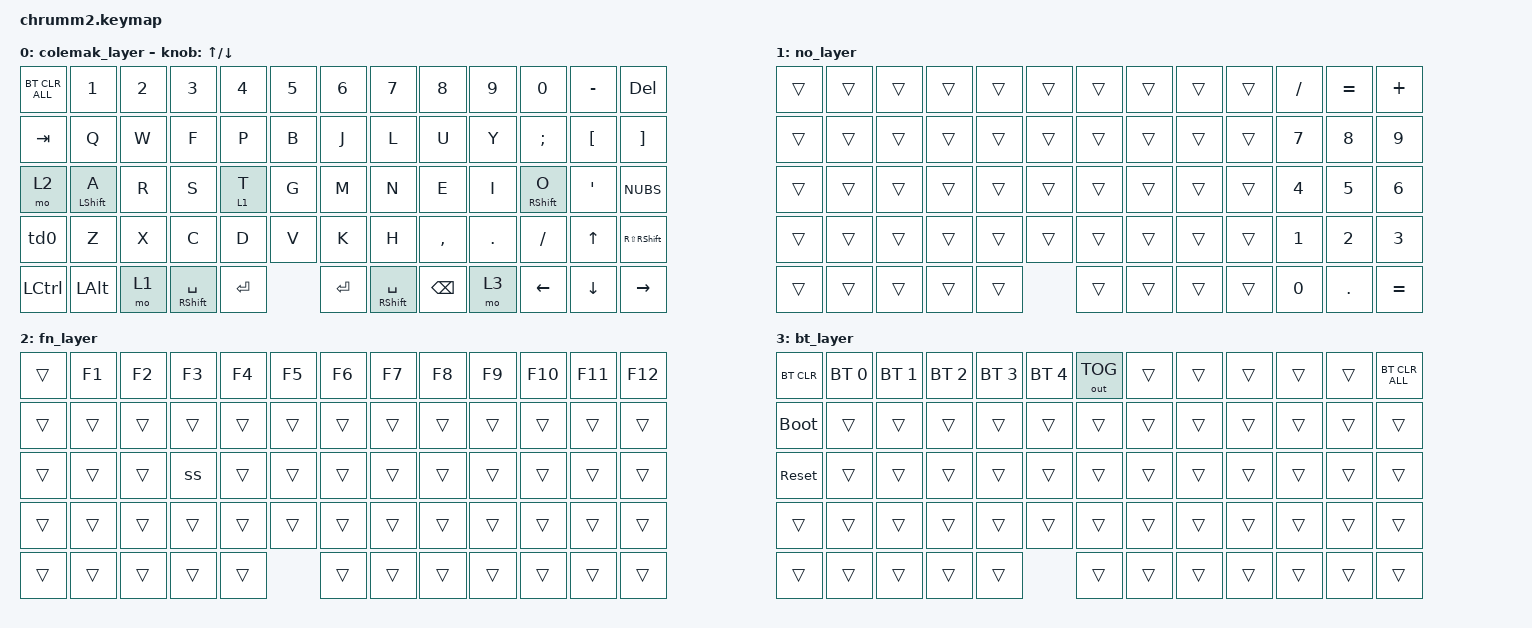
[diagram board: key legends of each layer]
/*
 * Copyright (c) 2021 The ZMK Contributors
 *
 * SPDX-License-Identifier: MIT
 */

#include <behaviors.dtsi>
#include <dt-bindings/zmk/bt.h>
#include <dt-bindings/zmk/keys.h>
#include <dt-bindings/zmk/outputs.h>

/ {
    behaviors {
        td0: tap_dance_0 {
            compatible = "zmk,behavior-tap-dance";
            #binding-cells = <0>;
            tapping-term-ms = <200>;
            bindings = <&kp LSHIFT>, <&kp CAPS>;
        };

        hold1: hold1 {
            compatible = "zmk,behavior-hold-tap";
            label = "HOLD1";
            bindings = <&kp>, <&kp>;

            #binding-cells = <2>;
            tapping-term-ms = <250>;
            flavor = "tap-preferred";
        };

        ss: ss {
            compatible = "zmk,behavior-tap-dance";
            #binding-cells = <0>;
            tapping-term-ms = <200>;
            label = "td_ss_dot";
            bindings = <&s_dot>, <&ss_dot>;
        };

        rot_kp: sensor_rotate_kp {
            compatible = "zmk,behavior-sensor-rotate-var";
            #sensor-binding-cells = <2>;
            bindings = <&kp>, <&kp>;
        };

        hold_2: hold_2 {
            compatible = "zmk,behavior-hold-tap";
            label = "HOLD_2";
            #binding-cells = <2>;
            bindings = <&mo>, <&kp>;

            tapping-term-ms = <250>;
            flavor = "tap-preferred";
        };
    };

    macros {
        s_dot: ss {
            compatible = "zmk,behavior-macro";
            #binding-cells = <0>;
            bindings = <&none &kp S &kp DOT &kp SPACE>;
            label = "SS";
        };

        ss_dot: s_dot {
            compatible = "zmk,behavior-macro";
            #binding-cells = <0>;
            bindings = <&none &kp S &kp S &kp DOT &kp SPACE>;
            label = "S_DOT";
        };
    };

    keymap {
        compatible = "zmk,keymap";

        colemak_layer {
            // --------------------------------------------------------------------------------------------------
            // |  ESC  |  1   |  2   |  3   |  4   |  5   |   6   |  7    |  8   |  9   |   0   | MINUS |  DEL |
            // |  TAB  |  Q   |  W   |  F   |  P   |  B   |   J   |  L    |  U   |  Y   |   ;   | LBKT  |  RBKT |
            // |  MO 2 |  A   |  R   |  S   |  T   |  G   |   M   |  N    |  E   |  I   |   O   |  '    |  NUBS |
            // |  TD 0 |  Z   |  X   |  C   |  D   |  V   |   K   |  H    |  ,   |  .   |   /   |  UP   |  RSFT |
            // |  LCTR | LALT | MO 1 | SPACE| ENTER|      | ENTER | SPACE | BSPC | MO 3 | LEFT  | DOWN  |  RIGHT|

            bindings = <
&bt BT_CLR_ALL  &kp N1          &kp N2  &kp N3                    &kp N4       &kp N5  &kp N6     &kp N7              &kp N8     &kp N9   &kp N0          &kp MINUS  &kp DEL
&kp TAB         &kp Q           &kp W   &kp F                     &kp P        &kp B   &kp J      &kp L               &kp U      &kp Y    &kp SEMI        &kp LBKT   &kp RBKT
&mo 2           &hold1 LSHFT A  &kp R   &kp S                     &hold_2 1 T  &kp G   &kp M      &kp N               &kp E      &kp I    &hold1 RSHFT O  &kp APOS   &kp NUBS
&td0            &kp Z           &kp X   &kp C                     &kp D        &kp V   &kp K      &kp H               &kp COMMA  &kp DOT  &kp FSLH        &kp UP     &kp RS(RIGHT_SHIFT)
&kp LCTRL       &kp LALT        &mo 1   &hold1 RIGHT_SHIFT SPACE  &kp ENTER            &kp ENTER  &hold1 RSHFT SPACE  &kp BSPC   &mo 3    &kp LEFT        &kp DOWN   &kp RIGHT
            >;

            sensor-bindings = <&inc_dec_kp UP DOWN>;
        };

        no_layer {
            // -------------------------------------------------------------------------------------------------
            // |       |      |      |      |      |      |       |       |      |      |   /   |   =   |  +  |
            // |       |      |      |      |      |      |       |       |      |      |   7   |   8   |  9  |
            // |       |      |      |      |      |      |       |       |      |      |   4   |   5   |  6  |
            // |       |      |      |      |      |      |       |       |      |      |   1   |   2   |  3  |
            // |       |      |      |      |      |      |       |       |      |      |   0   |   .   |  =  |

            bindings = <
&trans  &trans  &trans  &trans  &trans  &trans  &trans  &trans  &trans  &trans  &kp FSLH  &kp EQUAL   &kp PLUS
&trans  &trans  &trans  &trans  &trans  &trans  &trans  &trans  &trans  &trans  &kp N7    &kp N8      &kp N9
&trans  &trans  &trans  &trans  &trans  &trans  &trans  &trans  &trans  &trans  &kp N4    &kp N5      &kp N6
&trans  &trans  &trans  &trans  &trans  &trans  &trans  &trans  &trans  &trans  &kp N1    &kp N2      &kp N3
&trans  &trans  &trans  &trans  &trans          &trans  &trans  &trans  &trans  &kp N0    &kp PERIOD  &kp EQUAL
            >;
        };

        fn_layer {
            // ---------------------------------------------------------------------------------------------
            // |       |  F1  |  F2  |  F3  |  F4  |  F5  |  F6   |  F7   |  F8  |  F9  |  F10  |  F11  |  F12  |
            // |       |      |      |      |      |      |       |       |      |      |       |       |       |
            // |       |      |      |      |      |      |       |       |      |      |       |       |       |
            // |       |      |      |      |      |      |       |       |      |      |       |       |       |
            // |       |      |      |      |      |      |       |       |      |      |       |       |       |

            bindings = <
&trans  &kp F1  &kp F2  &kp F3  &kp F4  &kp F5  &kp F6  &kp F7  &kp F8  &kp F9  &kp F10  &kp F11  &kp F12
&trans  &trans  &trans  &trans  &trans  &trans  &trans  &trans  &trans  &trans  &trans   &trans   &trans
&trans  &trans  &trans  &ss     &trans  &trans  &trans  &trans  &trans  &trans  &trans   &trans   &trans
&trans  &trans  &trans  &trans  &trans  &trans  &trans  &trans  &trans  &trans  &trans   &trans   &trans
&trans  &trans  &trans  &trans  &trans          &trans  &trans  &trans  &trans  &trans   &trans   &trans
            >;
        };

        bt_layer {
            // --------------------------------------------------------------------------------------------------
            // |       |      |      |      |      |      |       |       |      |      |       |       |       |
            // |       |      |      |      |      |      |       |       |      |      |       |       |       |
            // |       |      |      |      |      |      |       |       |      |      |       |       |       |
            // |       |      |      |      |      |      |       |       |      |      |       |       |       |
            // |       |      |      |      |      |      |       |       |      |      |       |       |       |

            bindings = <
&bt BT_CLR   &bt BT_SEL 0  &bt BT_SEL 1  &bt BT_SEL 2  &bt BT_SEL 3  &bt BT_SEL 4  &out OUT_TOG  &trans  &trans  &trans  &trans  &trans  &bt BT_CLR_ALL
&bootloader  &trans        &trans        &trans        &trans        &trans        &trans        &trans  &trans  &trans  &trans  &trans  &trans
&sys_reset   &trans        &trans        &trans        &trans        &trans        &trans        &trans  &trans  &trans  &trans  &trans  &trans
&trans       &trans        &trans        &trans        &trans        &trans        &trans        &trans  &trans  &trans  &trans  &trans  &trans
&trans       &trans        &trans        &trans        &trans                      &trans        &trans  &trans  &trans  &trans  &trans  &trans
            >;
        };
    };
};
